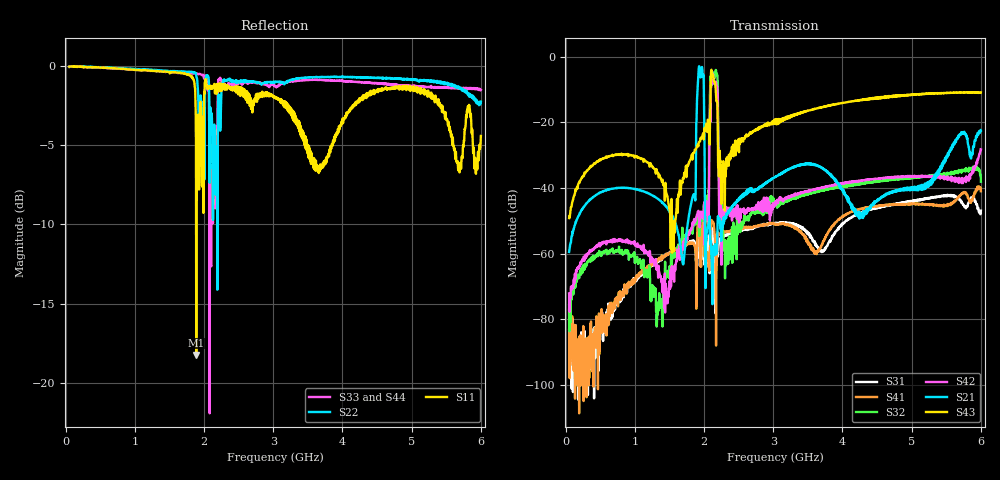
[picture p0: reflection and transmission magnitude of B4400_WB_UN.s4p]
! Matrix data file written by TouchstoneData, EPCOS AG
! FILENAME: "newformat_LZ54B_1_WB.s4p"
! COMMENT: "(LZ54B_1_WB.s4p) EPCOS AG 31.05.2012 14:23:2"
! INFO: nport=4, nfreq=1601
! DATE: "Fri Jun  1 15:25:38 2012"
! USER: "Sergey Rostovtsev"
! port | pin | signal
!  1  |  3  |  TX in
!  2  |  6  |  Ant in/out
!  3  |  8  |  RX out1
!  4  |  1  |  RX out2
# MHZ S MA R 50
! freq  magS11 angS11  magS12 angS12  magS13 angS13  magS14 angS14  ...
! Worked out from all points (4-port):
!   1601 points, 50 MHz to 6 GHz, reference 50 ohm
!   strongest paths, dB at 50 MHz, 1.538 GHz, 3.025 GHz, 4.513 GHz, 6 GHz:
!     S43: -49.1, -59.7, -19.6, -12.7, -10.8
!     S21: -59.5, -48.3, -36.6, -43.7, -22.5
!     S42: -72.1, -67.6, -45.1, -37.1, -28.2
!     S32: -75.7, -59.6, -44.1, -38.0, -38.0
!     S41: -83.2, -59.2, -51.0, -45.5, -41.0
!     S31: -77.0, -59.2, -50.8, -45.9, -46.9
!   lowest |S11| = -18.3 dB at 1.887 GHz (marker M1), VSWR 1.28, Z = 42.5 + j8.5 ohm
!   |S11| at or under -10 dB: 1.884745 GHz to 1.890292 GHz (5.547 MHz wide, 0.294 % of centre)
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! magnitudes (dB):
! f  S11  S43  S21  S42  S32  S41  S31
! 50 MHz  0.0  -49.1  -59.5  -72.1  -75.7  -83.2  -77.0
! 1.697 GHz  -0.4  -37.0  -63.3  -57.7  -57.1  -57.6  -57.5
! 1.887 GHz  -18.3  -27.8  -20.2  -49.0  -50.7  -76.8  -60.3
! 1.965 GHz  -5.6  -24.6  -4.2  -47.6  -49.2  -56.5  -60.3
! 2.155 GHz  -1.4  -7.6  -57.6  -8.2  -6.0  -54.4  -60.7
! 2.322 GHz  -1.3  -31.1  -47.7  -45.7  -58.2  -53.3  -54.2
! 6 GHz  -4.4  -10.8  -22.5  -28.2  -38.0  -41.0  -46.9
